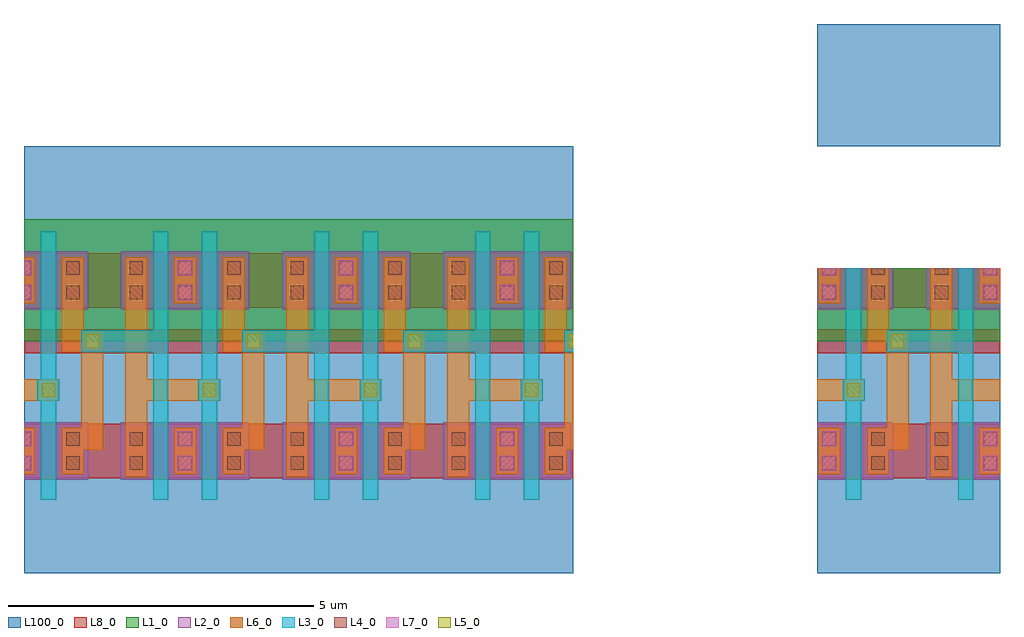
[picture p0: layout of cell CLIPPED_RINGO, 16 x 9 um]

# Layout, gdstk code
import gdstk
lib = gdstk.Library(unit=1e-6, precision=1e-09)
def R(c, l, rs):  # rectangles x0, y0, x1, y1
    for r in rs: c.add(gdstk.rectangle(r[:2], r[2:], *l))
def P(c, l, *ps):  # polygons
    for p in ps: c.add(gdstk.Polygon(p, *l))
L1_0 = (1, 0)
L2_0 = (2, 0)
L3_0 = (3, 0)
L4_0 = (4, 0)
L5_0 = (5, 0)
L6_0 = (6, 0)
L7_0 = (7, 0)
L8_0 = (8, 0)
L100_0 = (100, 0)

ringo_2 = lib.new_cell('RINGO$2')
R(ringo_2, L100_0, [(13,5,16,7)])

trans_9 = lib.new_cell('TRANS$9')
R(trans_9, L2_0, [(-0.65,-0.2,-0.24,0.475)])
R(trans_9, L4_0, [(-0.51,-0.2,-0.29,-0.09), (-0.51,0.09,-0.29,0.31)])
R(trans_9, L6_0, [(-0.58,-0.2,-0.24,0.38)])

trans_2 = lib.new_cell('TRANS$2')
R(trans_2, L2_0, [(-0.65,-0.475,0.56,0.475)])
R(trans_2, L4_0, [(-0.51,-0.31,-0.29,-0.09), (0.29,-0.31,0.51,-0.09), (-0.51,0.09,-0.29,0.31), (0.29,0.09,0.51,0.31)])
R(trans_2, L6_0, [(-0.58,-0.38,-0.22,0.38), (0.22,-0.38,0.56,0.38)])
trans_2.add(gdstk.FlexPath([(0,-0.8),(0,0.8)], 0.25, ends="flush", simple_path=True, layer=3, datatype=0))  # L3_0

trans_1 = lib.new_cell('TRANS$1')
R(trans_1, L2_0, [(-0.65,-0.475,-0.24,0.475)])
R(trans_1, L4_0, [(-0.51,-0.31,-0.29,-0.09), (-0.51,0.09,-0.29,0.31)])
R(trans_1, L6_0, [(-0.58,-0.38,-0.24,0.38)])

trans = lib.new_cell('TRANS')
R(trans, L2_0, [(-0.65,-0.475,0.56,0.2)])
R(trans, L3_0, [(-0.125,-0.8,0.125,0.2)])
R(trans, L4_0, [(-0.51,-0.31,-0.29,-0.09), (0.29,-0.31,0.51,-0.09), (-0.51,0.09,-0.29,0.2), (0.29,0.09,0.51,0.2)])
R(trans, L6_0, [(-0.58,-0.38,-0.22,0.2), (0.22,-0.38,0.56,0.2)])

inv2 = lib.new_cell('INV2')
R(inv2, L1_0, [(-1.4,1.8,0.16,3)])
R(inv2, L3_0, [(-0.525,-0.25,-0.275,2.25), (-1.7,1.62,-0.4,1.98)])
R(inv2, L5_0, [(-1.63,1.69,-1.41,1.91)])
R(inv2, L6_0, [(-0.98,-0.42,-0.62,2.42), (-0.8,0.82,0.16,1.18)])
R(inv2, L7_0, [(-0.125,-0.325,0.125,-0.075), (-0.125,0.075,0.125,0.325), (-0.125,2.475,0.125,2.725), (-0.125,2.875,0.125,3)])
R(inv2, L8_0, [(-1.4,-0.45,0.16,0.45), (-1.4,2.35,0.16,3)])
inv2.add(gdstk.Reference(trans_9, (0.4,2.8), x_reflection=True))
inv2.add(gdstk.Reference(trans_2, (-0.4,0)))
inv2.add(gdstk.Reference(trans_1, (0.4,0), x_reflection=True))
inv2.add(gdstk.Reference(trans, (-0.4,2.8)))
inv2.add(gdstk.Label('IN', (-0.8,1.8), layer=3, texttype=1))

trans_10 = lib.new_cell('TRANS$10')
R(trans_10, L2_0, [(-0.6,-0.2,0.65,0.475)])
R(trans_10, L3_0, [(-0.125,-0.2,0.125,0.8)])
R(trans_10, L4_0, [(-0.51,-0.2,-0.29,-0.09), (0.29,-0.2,0.51,-0.09), (-0.51,0.09,-0.29,0.31), (0.29,0.09,0.51,0.31)])
R(trans_10, L6_0, [(-0.58,-0.2,-0.22,0.38), (0.22,-0.2,0.58,0.38)])

trans_7 = lib.new_cell('TRANS$7')
R(trans_7, L2_0, [(0.2,-0.475,0.65,0.475)])
R(trans_7, L4_0, [(0.29,-0.31,0.51,-0.09), (0.29,0.09,0.51,0.31)])
R(trans_7, L6_0, [(0.22,-0.38,0.58,0.38)])

trans_6 = lib.new_cell('TRANS$6')
R(trans_6, L2_0, [(0.2,-0.475,0.65,0.2)])
R(trans_6, L4_0, [(0.29,-0.31,0.51,-0.09), (0.29,0.09,0.51,0.2)])
R(trans_6, L6_0, [(0.22,-0.38,0.58,0.2)])

trans_4 = lib.new_cell('TRANS$4')
R(trans_4, L2_0, [(-0.6,-0.475,0.65,0.475)])
R(trans_4, L4_0, [(-0.51,-0.31,-0.29,-0.09), (0.29,-0.31,0.51,-0.09), (-0.51,0.09,-0.29,0.31), (0.29,0.09,0.51,0.31)])
R(trans_4, L6_0, [(-0.58,-0.38,-0.22,0.38), (0.22,-0.38,0.58,0.38)])
trans_4.add(gdstk.FlexPath([(0,-0.8),(0,0.8)], 0.25, ends="flush", simple_path=True, layer=3, datatype=0))  # L3_0

inv2_4 = lib.new_cell('INV2$4')
R(inv2_4, L1_0, [(-0.2,1.8,1.4,3)])
R(inv2_4, L3_0, [(0.275,-0.25,0.525,2.25), (0.22,0.82,0.58,1.18)])
R(inv2_4, L5_0, [(0.29,0.89,0.51,1.11)])
R(inv2_4, L6_0, [(-0.2,0.82,0.58,1.18)])
R(inv2_4, L7_0, [(-0.125,-0.325,0.125,-0.075), (-0.125,0.075,0.125,0.325), (-0.125,2.475,0.125,2.725), (-0.125,2.875,0.125,3)])
R(inv2_4, L8_0, [(-0.2,-0.45,1.4,0.45), (-0.2,2.35,1.4,3)])
inv2_4.add(gdstk.FlexPath([(0.8,0.2),(1.12,0.2),(1.12,1.8),(0.8,1.8),(0.8,2.42)], 0.36, ends="flush", simple_path=True, layer=6, datatype=0))  # L6_0
inv2_4.add(gdstk.Reference(trans_10, (0.4,2.8), x_reflection=True))
inv2_4.add(gdstk.Reference(trans_7, (-0.4,0)))
inv2_4.add(gdstk.Reference(trans_6, (-0.4,2.8)))
inv2_4.add(gdstk.Reference(trans_4, (0.4,0), x_reflection=True))
inv2_4.add(gdstk.Label('OUT', (0.8,1.8), layer=6, texttype=1))

ringo_1 = lib.new_cell('RINGO$1')
R(ringo_1, L8_0, [(13,1.6,16,2)])
R(ringo_1, L100_0, [(13,-2,16,3)])
ringo_1.add(gdstk.Reference(inv2, (15.84,0)))
ringo_1.add(gdstk.Reference(inv2_4, (13.2,0)))

trans_3 = lib.new_cell('TRANS$3')
R(trans_3, L2_0, [(-0.65,-0.475,0.65,0.475)])
R(trans_3, L4_0, [(-0.51,-0.31,-0.29,-0.09), (0.29,-0.31,0.51,-0.09), (-0.51,0.09,-0.29,0.31), (0.29,0.09,0.51,0.31)])
R(trans_3, L6_0, [(-0.58,-0.38,-0.22,0.38), (0.22,-0.38,0.58,0.38)])
trans_3.add(gdstk.FlexPath([(0,-0.8),(0,0.8)], 0.25, ends="flush", simple_path=True, layer=3, datatype=0))  # L3_0

inv2_3 = lib.new_cell('INV2$3')
R(inv2_3, L1_0, [(-1.4,1.8,1.4,3.8)])
R(inv2_3, L3_0, [(-0.525,-0.25,-0.275,2.25), (0.275,-0.25,0.525,2.25), (0.22,0.82,0.58,1.18), (-1.7,1.62,-0.4,1.98)])
R(inv2_3, L5_0, [(0.29,0.89,0.51,1.11), (-1.63,1.69,-1.41,1.91)])
R(inv2_3, L6_0, [(-0.98,-0.42,-0.62,2.42), (-0.8,0.82,0.58,1.18)])
R(inv2_3, L7_0, [(-0.125,-0.325,0.125,-0.075), (-0.125,0.075,0.125,0.325), (-0.125,2.475,0.125,2.725), (-0.125,2.875,0.125,3.125)])
R(inv2_3, L8_0, [(-1.4,-0.45,1.4,0.45), (-1.4,2.35,1.4,3.25)])
inv2_3.add(gdstk.FlexPath([(0.8,0.2),(1.12,0.2),(1.12,1.8),(0.8,1.8),(0.8,2.42)], 0.36, ends="flush", simple_path=True, layer=6, datatype=0))  # L6_0
inv2_3.add(gdstk.Reference(trans_3, (-0.4,0)))
inv2_3.add(gdstk.Reference(trans_3, (-0.4,2.8)))
inv2_3.add(gdstk.Reference(trans_3, (0.4,0), x_reflection=True))
inv2_3.add(gdstk.Reference(trans_3, (0.4,2.8), x_reflection=True))
inv2_3.add(gdstk.Label('IN', (-0.8,1.8), layer=3, texttype=1))
inv2_3.add(gdstk.Label('OUT', (0.8,1.8), layer=6, texttype=1))

inv2_2 = lib.new_cell('INV2$2')
R(inv2_2, L1_0, [(-1.4,1.8,1.08,3.8)])
R(inv2_2, L3_0, [(-0.525,-0.25,-0.275,2.25), (0.275,-0.25,0.525,2.25), (0.22,0.82,0.58,1.18), (-1.7,1.62,-0.4,1.98)])
R(inv2_2, L5_0, [(0.29,0.89,0.51,1.11), (-1.63,1.69,-1.41,1.91)])
R(inv2_2, L6_0, [(-0.98,-0.42,-0.62,2.42), (-0.8,0.82,0.58,1.18)])
P(inv2_2, L6_0, [(0.8,0.02),(0.8,0.38),(0.94,0.38),(0.94,1.62),(0.62,1.62),(0.62,2.42),(0.98,2.42),(0.98,1.98),(1.08,1.98),(1.08,0.02)])
R(inv2_2, L7_0, [(-0.125,-0.325,0.125,-0.075), (-0.125,0.075,0.125,0.325), (-0.125,2.475,0.125,2.725), (-0.125,2.875,0.125,3.125)])
R(inv2_2, L8_0, [(-1.4,-0.45,1.08,0.45), (-1.4,2.35,1.08,3.25)])
inv2_2.add(gdstk.Reference(trans_3, (-0.4,0)))
inv2_2.add(gdstk.Reference(trans_3, (-0.4,2.8)))
inv2_2.add(gdstk.Reference(trans_3, (0.4,0), x_reflection=True))
inv2_2.add(gdstk.Reference(trans_3, (0.4,2.8), x_reflection=True))
inv2_2.add(gdstk.Label('IN', (-0.8,1.8), layer=3, texttype=1))
inv2_2.add(gdstk.Label('OUT', (0.8,1.8), layer=6, texttype=1))

inv2_1 = lib.new_cell('INV2$1')
R(inv2_1, L3_0, [(-1.7,1.62,-1.56,1.98)])
R(inv2_1, L5_0, [(-1.63,1.69,-1.56,1.91)])

trans_8 = lib.new_cell('TRANS$8')
R(trans_8, L2_0, [(0.4,-0.475,0.65,0.475)])
R(trans_8, L4_0, [(0.4,-0.31,0.51,-0.09), (0.4,0.09,0.51,0.31)])
R(trans_8, L6_0, [(0.4,-0.38,0.58,0.38)])

trans_5 = lib.new_cell('TRANS$5')
R(trans_5, L2_0, [(-0.4,-0.475,0.65,0.475)])
R(trans_5, L4_0, [(-0.4,-0.31,-0.29,-0.09), (0.29,-0.31,0.51,-0.09), (-0.4,0.09,-0.29,0.31), (0.29,0.09,0.51,0.31)])
R(trans_5, L6_0, [(-0.4,-0.38,-0.22,0.38), (0.22,-0.38,0.58,0.38)])
trans_5.add(gdstk.FlexPath([(0,-0.8),(0,0.8)], 0.25, ends="flush", simple_path=True, layer=3, datatype=0))  # L3_0

inv2_5 = lib.new_cell('INV2$5')
R(inv2_5, L1_0, [(0,1.8,1.4,3.8)])
R(inv2_5, L3_0, [(0.275,-0.25,0.525,2.25), (0.22,0.82,0.58,1.18)])
R(inv2_5, L5_0, [(0.29,0.89,0.51,1.11)])
R(inv2_5, L6_0, [(0,0.82,0.58,1.18)])
R(inv2_5, L7_0, [(0,-0.325,0.125,-0.075), (0,0.075,0.125,0.325), (0,2.475,0.125,2.725), (0,2.875,0.125,3.125)])
R(inv2_5, L8_0, [(0,-0.45,1.4,0.45), (0,2.35,1.4,3.25)])
inv2_5.add(gdstk.FlexPath([(0.8,0.2),(1.12,0.2),(1.12,1.8),(0.8,1.8),(0.8,2.42)], 0.36, ends="flush", simple_path=True, layer=6, datatype=0))  # L6_0
inv2_5.add(gdstk.Reference(trans_8, (-0.4,0)))
inv2_5.add(gdstk.Reference(trans_8, (-0.4,2.8)))
inv2_5.add(gdstk.Reference(trans_5, (0.4,0), x_reflection=True))
inv2_5.add(gdstk.Reference(trans_5, (0.4,2.8), x_reflection=True))
inv2_5.add(gdstk.Label('OUT', (0.8,1.8), layer=6, texttype=1))

ringo = lib.new_cell('RINGO')
R(ringo, L8_0, [(0,1.6,9,2)])
R(ringo, L100_0, [(0,-2,9,5)])
ringo.add(gdstk.Reference(inv2_3, (2.64,0)))
ringo.add(gdstk.Reference(inv2_3, (5.28,0)))
ringo.add(gdstk.Reference(inv2_2, (7.92,0)))
ringo.add(gdstk.Reference(inv2_1, (10.56,0)))
ringo.add(gdstk.Reference(inv2_5, (0,0)))
ringo.add(gdstk.Label('FB', (0,1.8), layer=8, texttype=1))
ringo.add(gdstk.Label('VSS', (0,0), layer=8, texttype=1))
ringo.add(gdstk.Label('VDD', (0,2.8), layer=8, texttype=1))

clipped_ringo = lib.new_cell('CLIPPED_RINGO')
clipped_ringo.add(gdstk.Reference(ringo_2, (0,0)))
clipped_ringo.add(gdstk.Reference(ringo_1, (0,0)))
clipped_ringo.add(gdstk.Reference(ringo, (0,0)))

lib.write_gds('CLIPPED_RINGO.gds')
